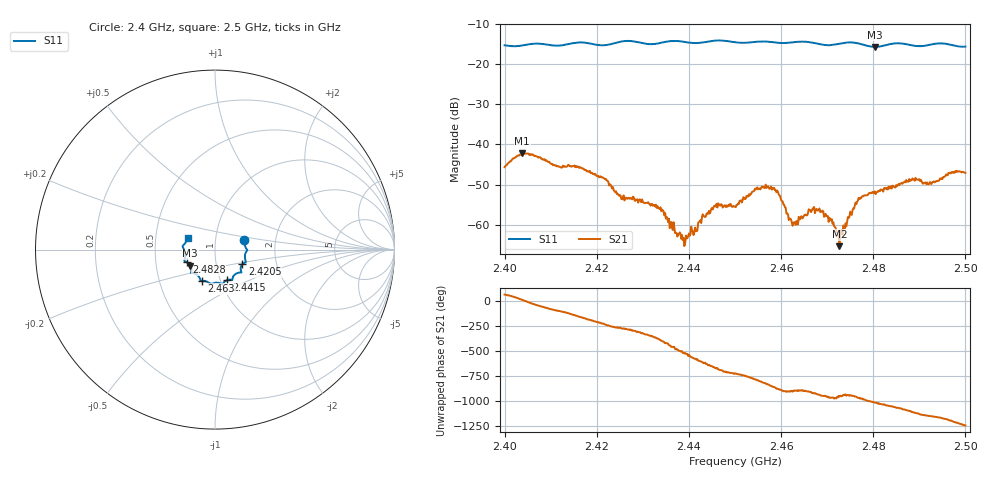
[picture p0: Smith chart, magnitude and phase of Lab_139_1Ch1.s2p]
# Hz S RI R 50
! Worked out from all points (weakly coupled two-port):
!   601 points, 2.4 GHz to 2.5 GHz, reference 50 ohm
!   highest |S21| = -42.18 dB at 2.4038 GHz (marker M1); lowest = -65.4 dB at 2.4727 GHz (marker M2)
!   lowest |S11| = -15.7 dB at 2.4803 GHz (marker M3), VSWR 1.39, Z = 37.4 - j6.85 ohm
!   |S11| at or under -10 dB: start of sweep to end of sweep
!   S12 and S22 are empty: the file has one direction only
!   S11 on the Smith chart (normalised r, x): 2.4 GHz: 1.38, +0.15; 2.4205 GHz: 1.34, -0.23; 2.4415 GHz: 1.07, -0.38; 2.463 GHz: 0.82, -0.29; 2.4828 GHz: 0.72, -0.10; 2.5 GHz: 0.73, +0.10
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2.4e9  0.1638 0.052  0.0021 0.00478  0 0  0 0
2.403833e9  0.1708 0.0114  0.0076 0.00164  0 0  0 0
2.416667e9  0.1729 -0.0701  -0.00487 -0.00155  0 0  0 0
2.4205e9  0.1521 -0.0817  -0.00312 0.00231  0 0  0 0
2.425667e9  0.1471 -0.1248  0.000237 0.00215  0 0  0 0
2.433333e9  0.1001 -0.1514  0.00154 -0.000458  0 0  0 0
2.438667e9  0.0905 -0.168  -0.000605 -0.000226  0 0  0 0
2.4415e9  0.0659 -0.1709  -0.000629 0.000551  0 0  0 0
2.442667e9  0.0554 -0.1768  -0.0004 0.000966  0 0  0 0
2.4455e9  0.0419 -0.1915  0.000973 0.00142  0 0  0 0
2.45e9  0.0241 -0.186  0.00166 -0.00014  0 0  0 0
2.454333e9  -0.0131 -0.189  0.00119 -0.00254  0 0  0 0
2.458167e9  -0.0328 -0.1853  -0.00219 -0.00186  0 0  0 0
2.463e9  -0.0721 -0.1739  -0.00108 2.72e-05  0 0  0 0
2.466667e9  -0.082 -0.1671  -0.00138 0.000591  0 0  0 0
2.468667e9  -0.0891 -0.152  -0.000944 0.0011  0 0  0 0
2.472667e9  -0.1241 -0.1302  -0.000279 0.000462  0 0  0 0
2.476667e9  -0.1324 -0.1247  -0.000688 0.00187  0 0  0 0
2.480333e9  -0.1377 -0.0892  0.00126 0.00227  0 0  0 0
2.482833e9  -0.1586 -0.07  0.00232 0.0015  0 0  0 0
2.483333e9  -0.1625 -0.0681  0.00262 0.00144  0 0  0 0
2.5e9  -0.1528 0.0641  -0.00432 -0.000881  0 0  0 0
